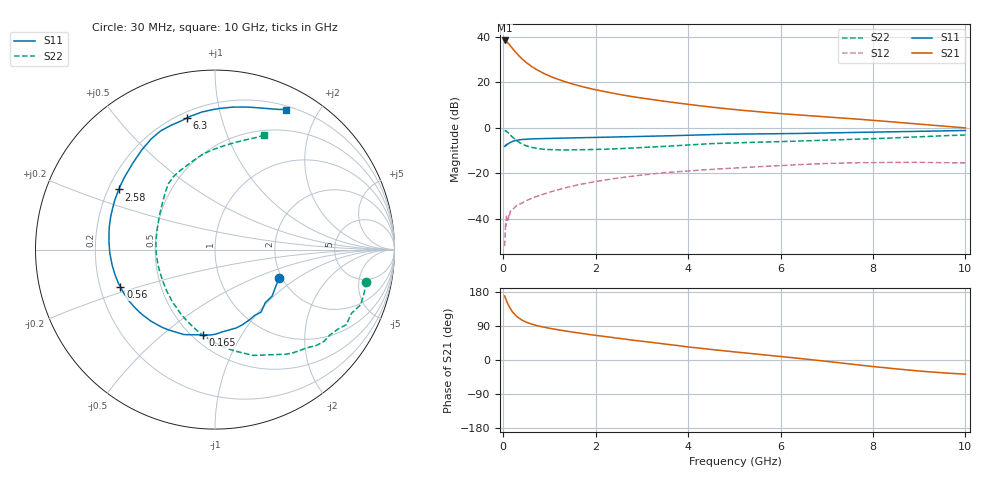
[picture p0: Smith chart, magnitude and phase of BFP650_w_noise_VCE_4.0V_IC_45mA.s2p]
! Infineon Technologies  Discrete & RF Semiconductors
! BFP650
! VCE =  4.0 V,  IC =  45 mA
! Common Emitter S-Parameters:  Jan 2016
# GHz  S  MA  R  50
!  f  S11  S21  S12  S22
! GHz  MAG  ANG  MAG  ANG  MAG  ANG  MAG  ANG
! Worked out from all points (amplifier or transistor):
!   229 points, 30 MHz to 10 GHz, reference 50 ohm
!   highest |S21| = 38.4 dB at 30 MHz (marker M1)
!   |S21| within 3 dB of that: start of sweep to 179.7 MHz
!   unconditionally stable (mu >= 1): 1.797 GHz to end of sweep
!   at 280 MHz: K = 0.47, MSG = 33.7 dB, |S12| = -34.4 dB
!   at 1.78 GHz: K = 1.00, MSG = 21.1 dB, |S12| = -24.5 dB
!   at 10 GHz: K = 1.03, MAG = 6.6 dB, |S12| = -15.4 dB
!   lowest NFmin = 0.91 dB at 450 MHz
!   S11 on the Smith chart (normalised r, x): 30 MHz: 1.94, -0.72; 165 MHz: 0.56, -0.69; 560 MHz: 0.29, -0.18; 2.58 GHz: 0.24, +0.27; 6.3 GHz: 0.23, +0.78; 10 GHz: 0.24, +1.60
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0.03  0.3922 -23.7  83.29 169.0  0.0025 61.3  0.8615 -12.0
0.04  0.3954 -31.0  82.83 165.7  0.004 68.4  0.8654 -16.2
0.07  0.4325 -53.5  78.85 156.5  0.012 75.2  0.843 -29.7
0.1  0.4461 -70.1  73.83 148.1  0.0094 70.9  0.7936 -40.1
0.13  0.46 -84.8  67.9 140.6  0.0133 52.5  0.7335 -50.2
0.165  0.48 -98.2  61.53 133.9  0.0148 53.5  0.6753 -60.0
0.2  0.504 -110.0  55.69 127.0  0.0159 52.3  0.6269 -70.1
0.24  0.5168 -120.0  49.74 121.3  0.0173 51.8  0.5754 -79.0
0.3  0.5349 -131.7  42.27 114.1  0.0201 51.4  0.514 -91.0
0.4  0.5527 -145.1  33.27 105.7  0.0221 49.9  0.4452 -106.6
0.56  0.5665 -158.4  24.56 97.2  0.0268 50.6  0.3842 -125.1
0.7  0.5747 -166.4  19.65 91.7  0.0304 51.1  0.3574 -137.9
1  0.5866 -178.1  13.78 83.7  0.0382 53.1  0.3323 -157.0
1.3  0.5949 173.5  10.59 77.5  0.0466 52.6  0.3274 -170.6
1.7  0.606 164.4  8.089 70.2  0.0581 50.7  0.33 176.0
2.58  0.6324 148.0  5.269 55.8  0.0813 43.8  0.351 154.6
3.4  0.6598 135.1  3.941 43.6  0.101 35.7  0.3859 140.0
5.1  0.7284 113.5  2.467 20.3  0.1323 19.0  0.4707 118.4
6.3  0.7493 102.1  1.953 5.6  0.1531 7.7  0.5079 104.4
6.8  0.7637 97.3  1.803 -0.8  0.1613 2.3  0.5253 99.7
8.4  0.8125 77.8  1.354 -22.2  0.1735 -15.2  0.5971 81.4
10  0.8743 63.2  0.995 -37.4  0.169 -27.8  0.6954 66.7
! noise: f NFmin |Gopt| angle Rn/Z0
0.45  0.91  0.13  169  1.13
0.9  0.93  0.39  -168  0.06
1.9  1.08  0.43  -154  0.06
2.4  1.16  0.42  -145  0.07
3.5  1.37  0.44  -121  0.13
